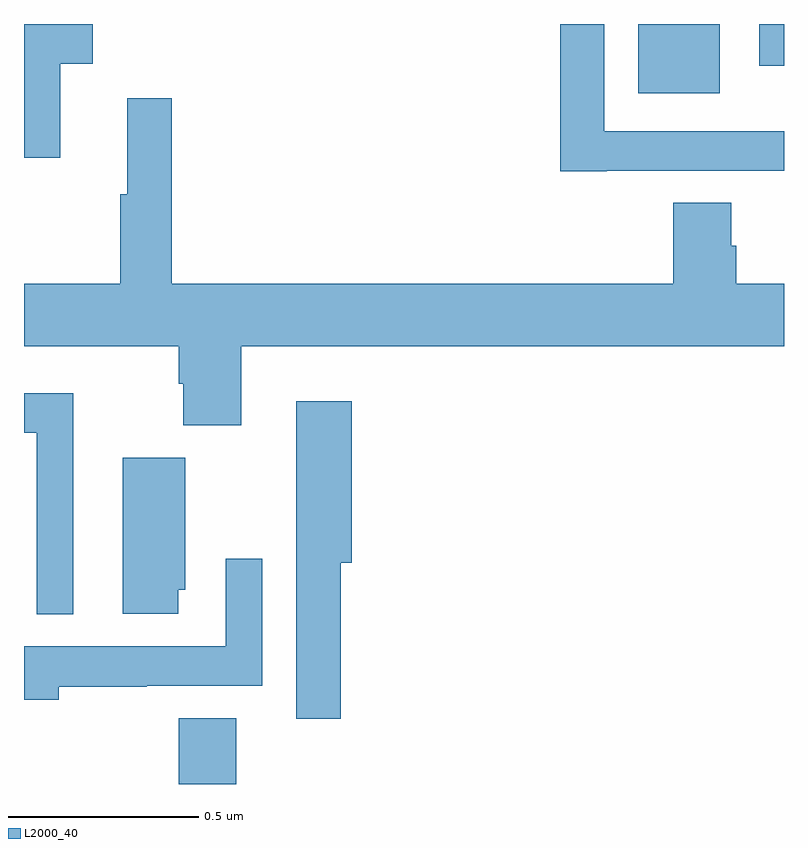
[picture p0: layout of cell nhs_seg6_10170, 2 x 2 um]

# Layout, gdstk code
import gdstk
lib = gdstk.Library(unit=1e-6, precision=1e-09)
def R(c, l, rs):  # rectangles x0, y0, x1, y1
    for r in rs: c.add(gdstk.rectangle(r[:2], r[2:], *l))
def P(c, l, *ps):  # polygons
    for p in ps: c.add(gdstk.Polygon(p, *l))
L2000_40 = (2000, 40)

nhs_seg6_10170 = lib.new_cell('nhs_seg6_10170')
R(nhs_seg6_10170, L2000_40, [(243.407,963.5,243.559,963.673), (244.616,965.318,244.831,965.5), (244.935,965.39,245,965.5)])
P(nhs_seg6_10170, L2000_40, [(244.534,965.114),(245,965.114),(245,965.218),(244.527,965.218),(244.527,965.5),(244.411,965.5),(244.411,965.112),(244.534,965.112)],
  [(243.095,965.396),(243.181,965.396),(243.181,965.5),(243,965.5),(243,965.148),(243.095,965.148)],
  [(243.572,964.652),(245,964.652),(245,964.816),(244.874,964.816),(244.874,964.917),(244.861,964.917),(244.861,965.029),(244.709,965.029),(244.709,964.816),(243.389,964.816),(243.389,965.305),(243.272,965.305),(243.272,965.052),(243.253,965.052),(243.253,964.816),(243,964.816),(243,964.652),(243.407,964.652),(243.407,964.553),(243.419,964.553),(243.419,964.444),(243.572,964.444)],
  [(243.13,964.528),(243,964.528),(243,964.424),(243.033,964.424),(243.033,963.947),(243.13,963.947)],
  [(243.833,964.082),(243.863,964.082),(243.863,964.507),(243.716,964.507),(243.716,964.186),(243.717,964.186),(243.717,963.672),(243.833,963.672)],
  [(243.406,964.011),(243.424,964.011),(243.424,964.359),(243.26,964.359),(243.26,963.948),(243.406,963.948)],
  [(243.092,963.756),(243.323,963.756),(243.323,963.758),(243.627,963.758),(243.627,964.093),(243.531,964.093),(243.531,963.862),(243,963.862),(243,963.722),(243.092,963.722)])

lib.write_gds('nhs_seg6_10170.gds')
